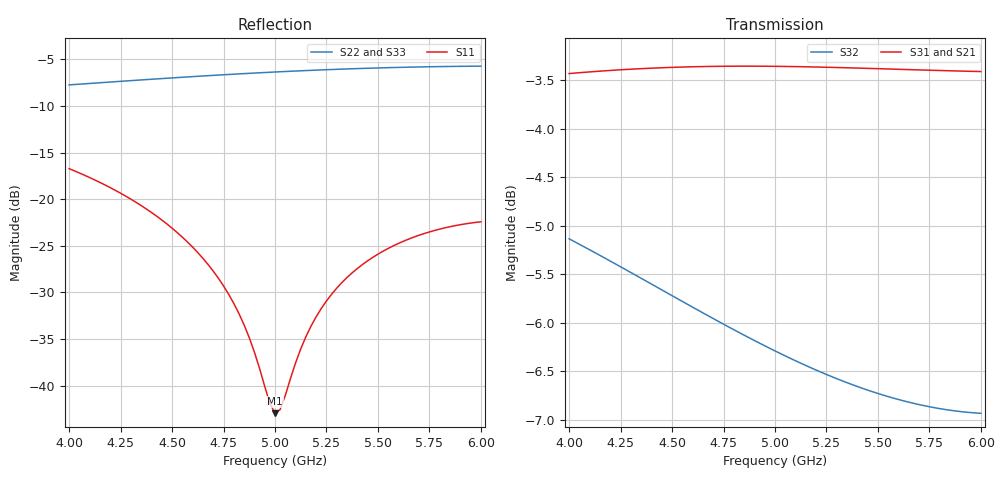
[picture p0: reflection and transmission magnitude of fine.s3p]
! yapnr rf: divider-osh-w-star-sched, footprint re-simulated (refine 2)
! spec sha256 728df57683abed8ddd9652d9c29a1a1523d264d5113645caf1ac39285962e076
! 3 ports renormalized to 50 ohm, e^(+jwt) convention
# GHz S RI R 50
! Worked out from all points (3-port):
!   81 points, 4 GHz to 6 GHz, reference 50 ohm
!   strongest paths, dB at 4 GHz, 4.5 GHz, 5 GHz, 5.5 GHz, 6 GHz:
!     S31: -3.4, -3.4, -3.4, -3.4, -3.4
!     S21: -3.4, -3.4, -3.4, -3.4, -3.4
!     S32: -5.1, -5.7, -6.3, -6.7, -6.9
!   lowest |S11| = -43.0 dB at 5 GHz (marker M1), VSWR 1.01, Z = 49.7 + j0.634 ohm
!   |S11| at or under -10 dB: start of sweep to end of sweep
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4  0.0373 0.141  -0.6545 -0.1596  -0.6545 -0.1596
   -0.6543 -0.1602  0.3538 -0.2085  -0.4546 0.3161
   -0.6543 -0.1602  -0.4546 0.3161  0.3538 -0.2085
4.375  0.0417 0.0783  -0.6762 0.0388  -0.6762 0.0388
       -0.6767 0.0377  0.2753 -0.3411  -0.3102 0.4255
       -0.6767 0.0377  -0.3102 0.4255  0.2753 -0.3411
4.65  0.0279 0.0393  -0.6526 0.1852  -0.6526 0.1852
      -0.6538 0.1841  0.1911 -0.4166  -0.1951 0.468
      -0.6538 0.1841  -0.1951 0.468  0.1911 -0.4166
4.825  0.0136 0.0202  -0.6204 0.2744  -0.6204 0.2744
       -0.6221 0.2735  0.1287 -0.4524  -0.1225 0.4801
       -0.6221 0.2735  -0.1225 0.4801  0.1287 -0.4524
5  -0.00314 0.00638  -0.5756 0.358  -0.5756 0.358
   -0.5778 0.3575  0.0615 -0.4775  -0.0523 0.4819
   -0.5778 0.3575  -0.0523 0.4819  0.0615 -0.4775
5.025  -0.00565 0.00486  -0.5683 0.3694  -0.5683 0.3694
       -0.5705 0.3689  0.0516 -0.4802  -0.0425 0.4814
       -0.5705 0.3689  -0.0425 0.4814  0.0516 -0.4802
5.175  -0.0208 -0.00189  -0.5194 0.4344  -0.5194 0.4344
       -0.5219 0.4343  -0.0086 -0.4913  0.0145 0.4749
       -0.5219 0.4343  0.0145 0.4749  -0.0086 -0.4913
5.35  -0.0377 -0.00484  -0.453 0.5018  -0.453 0.5018
      -0.4557 0.5024  -0.0796 -0.4936  0.0771 0.4604
      -0.4557 0.5024  0.0771 0.4604  -0.0796 -0.4936
5.625  -0.0596 -0.000506  -0.3316 0.587  -0.3316 0.587
       -0.3342 0.5886  -0.1886 -0.4743  0.1667 0.4253
       -0.3342 0.5886  0.1667 0.4253  -0.1886 -0.4743
6  -0.0741 0.0155  -0.1426 0.6567  -0.1426 0.6567
   -0.144 0.6597  -0.3204 -0.4063  0.2722 0.3585
   -0.144 0.6597  0.2722 0.3585  -0.3204 -0.4063
